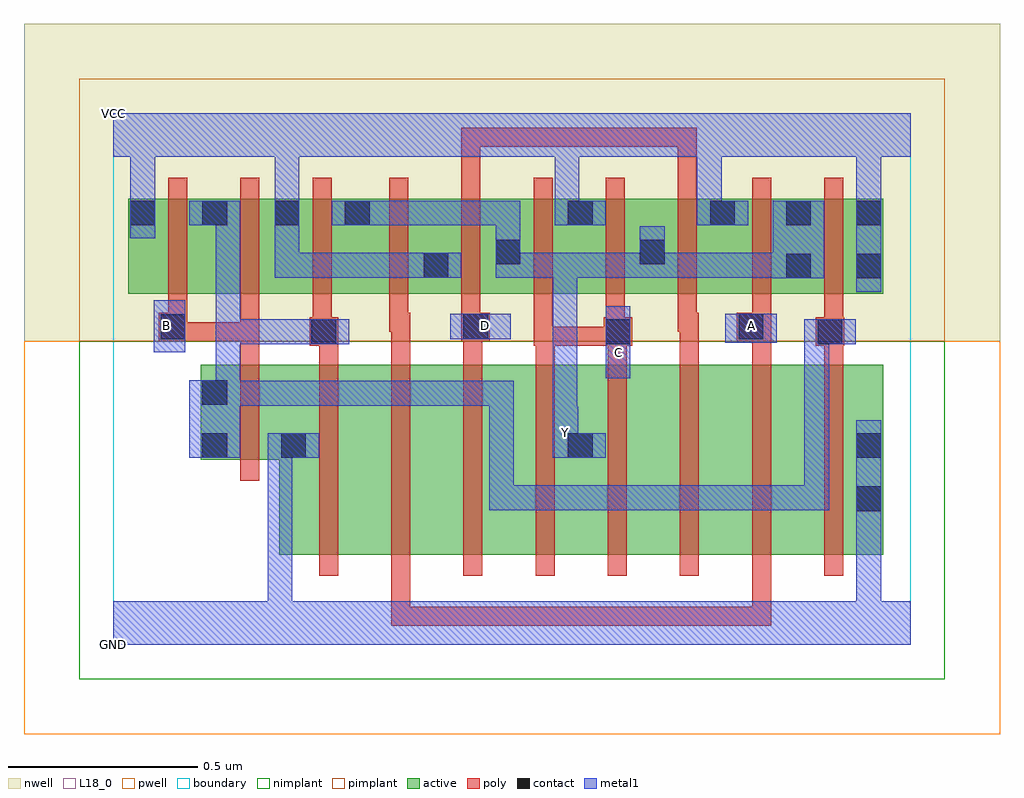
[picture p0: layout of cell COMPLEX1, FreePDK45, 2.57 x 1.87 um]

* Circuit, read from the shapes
.subckt COMPLEX1 A B C D GND VCC Y
M1 GND B n1 VSUBS nfet w=0.25u l=0.05u
M2 n2 n1 GND VSUBS nfet w=0.5u l=0.05u
M3 n3 A n2 VSUBS nfet w=0.5u l=0.05u
M4 n4 D n3 VSUBS nfet w=0.5u l=0.05u
M5 Y C n4 VSUBS nfet w=0.5u l=0.05u
M6 n5 C Y VSUBS nfet w=0.5u l=0.05u
M7 n6 D n5 VSUBS nfet w=0.5u l=0.05u
M8 n7 A n6 VSUBS nfet w=0.5u l=0.05u
M9 GND n1 n7 VSUBS nfet w=0.5u l=0.05u
M10 n1 B VCC n8 pfet w=0.25u l=0.05u m=2
M11 Y n1 VCC n8 pfet w=0.25u l=0.05u m=2
M12 VCC A Y n8 pfet w=0.25u l=0.05u m=2
M13 Y D VCC n8 pfet w=0.25u l=0.05u m=2
M14 VCC C Y n8 pfet w=0.25u l=0.05u m=2
.ends

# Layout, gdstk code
import gdstk
lib = gdstk.Library(unit=1e-6, precision=1e-09)
def R(c, l, rs):  # rectangles x0, y0, x1, y1
    for r in rs: c.add(gdstk.rectangle(r[:2], r[2:], *l))
def A(c, l, x, y, w, h, nx, ny, dx, dy):  # array of equal rectangles
    R(c, l, [(x+i*dx, y+j*dy, x+i*dx+w, y+j*dy+h) for i in range(nx) for j in range(ny)])
active = (1, 0)
pwell = (2, 0)
nwell = (3, 0)
nimplant = (4, 0)
pimplant = (5, 0)
poly = (9, 0)
contact = (10, 0)
metal1 = (11, 0)
L18_0 = (18, 0)
boundary = (235, 0)

complex1 = lib.new_cell('COMPLEX1')
A(complex1, active, 0.04, 0.925, 0.075, 0.25, 3, 1, 0.19, 0)
A(complex1, active, 0.812, 0.925, 0.265, 0.25, 3, 1, 0.19, 0)
R(complex1, active, [(0.437,0.237,0.662,0.737), (0.662,0.237,0.852,0.737), (0.852,0.237,1.042,0.737), (1.042,0.237,1.267,0.737), (1.192,0.237,1.422,0.737), (1.422,0.237,1.612,0.737), (1.612,0.237,1.802,0.737), (1.802,0.237,2.027,0.737), (1.192,0.245,1.267,0.717), (1.952,0.245,2.027,0.737), (0.23,0.487,0.512,0.737), (0.23,0.487,0.305,0.737), (0.437,0.487,0.512,0.562), (0.04,0.925,0.305,1.175), (0.23,0.925,0.495,1.175), (0.42,0.925,0.68,1.175), (0.605,0.925,0.887,1.175), (0.605,0.925,0.68,1.175), (1.002,0.925,1.077,1.162), (1.382,0.925,1.642,1.175), (1.382,0.925,1.457,1.162), (1.567,0.925,1.842,1.175), (1.767,0.925,2.027,1.175), (1.952,0.925,2.027,1.175), (1.192,0.932,1.267,1.175), (1.767,0.96,1.842,1.175), (0.812,0.962,0.887,1.07), (1.567,1.057,1.642,1.175)])
R(complex1, pwell, [(-0.235,-0.235,2.335,0.8)])
R(complex1, nwell, [(-0.235,0.8,2.335,1.635)])
R(complex1, nimplant, [(-0.09,-0.09,2.19,0.8)])
R(complex1, pimplant, [(-0.09,0.8,2.19,1.49)])
A(complex1, poly, 0.542, 0.182, 0.05, 0.61, 8, 1, 0.19, 0)
A(complex1, poly, 0.145, 0.87, 0.05, 0.36, 3, 1, 0.19, 0)
A(complex1, poly, 0.727, 0.87, 0.05, 0.36, 5, 1, 0.19, 0)
R(complex1, poly, [(0.732,0.05,0.782,0.232), (0.732,0.05,0.782,0.1), (0.732,0.05,0.782,0.1), (0.732,0.05,0.782,0.1), (0.732,0.05,1.025,0.1), (0.975,0.05,1.025,0.1), (0.975,0.05,1.025,0.1), (0.975,0.05,1.025,0.1), (0.975,0.05,1.21,0.1), (1.16,0.05,1.21,0.1), (1.16,0.05,1.21,0.1), (1.16,0.05,1.21,0.1), (1.16,0.05,1.342,0.1), (1.292,0.05,1.342,0.1), (1.292,0.05,1.342,0.1), (1.292,0.05,1.342,0.1), (1.292,0.05,1.475,0.1), (1.425,0.05,1.475,0.1), (1.425,0.05,1.732,0.1), (1.682,0.05,1.732,0.232), (1.682,0.05,1.732,0.1), (1.682,0.05,1.732,0.1), (1.682,0.05,1.732,0.1), (0.335,0.432,0.385,0.792), (0.335,0.742,0.385,0.85), (0.542,0.742,0.592,0.837), (0.732,0.742,0.782,0.875), (0.922,0.742,0.972,0.85), (1.112,0.742,1.162,0.837), (1.302,0.742,1.352,0.837), (1.492,0.742,1.542,0.875), (1.682,0.742,1.732,0.85), (1.872,0.742,1.922,0.837), (0.517,0.787,0.592,0.862), (1.107,0.787,1.157,0.92), (1.107,0.787,1.162,0.837), (1.112,0.787,1.162,0.837), (1.112,0.787,1.162,0.837), (1.112,0.787,1.342,0.837), (1.292,0.787,1.367,0.862), (1.85,0.787,1.925,0.862), (0.12,0.8,0.195,0.875), (0.145,0.8,0.385,0.85), (0.335,0.8,0.385,0.85), (0.335,0.8,0.385,0.85), (0.335,0.8,0.385,0.85), (0.335,0.8,0.385,0.92), (0.917,0.8,0.992,0.875), (1.642,0.8,1.732,0.875), (0.525,0.812,0.575,0.92), (1.297,0.812,1.347,0.92), (1.872,0.812,1.922,0.92), (0.145,0.825,0.195,0.92), (0.727,0.825,0.777,0.92), (0.727,0.825,0.782,0.875), (0.917,0.825,0.967,0.92), (1.487,0.825,1.537,0.92), (1.487,0.825,1.542,0.875), (1.682,0.825,1.732,0.92), (1.682,0.87,1.732,1.23), (1.872,0.87,1.922,1.23), (0.917,1.18,0.967,1.362), (1.487,1.18,1.537,1.362), (0.917,1.312,0.967,1.362), (0.917,1.312,0.967,1.362), (0.917,1.312,0.967,1.362), (0.917,1.312,1.157,1.362), (1.107,1.312,1.157,1.362), (1.107,1.312,1.157,1.362), (1.107,1.312,1.157,1.362), (1.107,1.312,1.342,1.362), (1.292,1.312,1.342,1.362), (1.292,1.312,1.342,1.362), (1.292,1.312,1.342,1.362), (1.292,1.312,1.537,1.362), (1.487,1.312,1.537,1.362)])
A(complex1, contact, 0.045, 1.105, 0.065, 0.065, 3, 1, 0.19, 0)
R(complex1, contact, [(1.957,0.352,2.022,0.417), (0.235,0.492,0.3,0.557), (0.442,0.492,0.507,0.557), (1.197,0.492,1.262,0.557), (1.957,0.492,2.022,0.557), (0.235,0.632,0.3,0.697), (0.522,0.792,0.587,0.857), (1.297,0.792,1.362,0.857), (1.855,0.792,1.92,0.857), (0.125,0.805,0.19,0.87), (0.922,0.805,0.987,0.87), (1.647,0.805,1.712,0.87), (1.772,0.965,1.837,1.03), (1.957,0.965,2.022,1.03), (0.817,0.967,0.882,1.032), (1.007,1.002,1.072,1.067), (1.387,1.002,1.452,1.067), (0.61,1.105,0.675,1.17), (1.197,1.105,1.262,1.17), (1.572,1.105,1.637,1.17), (1.772,1.105,1.837,1.17), (1.957,1.105,2.022,1.17)])
R(complex1, metal1, [(0,0,2.1,0.115), (0.407,0.05,0.472,0.115), (0.407,0.05,0.472,0.115), (0.407,0.05,0.472,0.115), (0.407,0.05,0.472,0.115), (0.407,0.05,0.472,0.557), (1.957,0.05,2.022,0.382), (1.957,0.317,2.022,0.382), (1.957,0.317,2.022,0.382), (1.957,0.317,2.022,0.382), (1.957,0.317,2.022,0.382), (1.957,0.317,2.022,0.592), (0.99,0.355,1.055,0.42), (0.99,0.355,1.055,0.42), (0.99,0.355,1.055,0.42), (0.99,0.355,1.315,0.42), (0.99,0.355,1.055,0.695), (1.25,0.355,1.315,0.42), (1.25,0.355,1.315,0.42), (1.25,0.355,1.315,0.42), (1.25,0.355,1.452,0.42), (1.387,0.355,1.452,0.42), (1.387,0.355,1.452,0.42), (1.387,0.355,1.452,0.42), (1.387,0.355,1.452,0.42), (1.387,0.355,1.452,0.42), (1.387,0.355,1.665,0.42), (1.6,0.355,1.665,0.42), (1.6,0.355,1.665,0.42), (1.6,0.355,1.665,0.42), (1.6,0.355,1.885,0.42), (1.82,0.355,1.885,0.42), (1.82,0.355,1.885,0.857), (0.2,0.492,0.335,0.697), (0.407,0.492,0.542,0.557), (1.157,0.492,1.225,0.627), (1.16,0.492,1.225,0.557), (1.16,0.492,1.297,0.557), (1.157,0.562,1.222,1.032), (0.27,0.63,0.335,0.695), (0.27,0.63,0.335,0.695), (0.27,0.63,0.502,0.695), (0.437,0.63,0.502,0.695), (0.437,0.63,0.502,0.695), (0.437,0.63,0.502,0.695), (0.437,0.63,0.697,0.695), (0.632,0.63,0.697,0.695), (0.632,0.63,0.697,0.695), (0.632,0.63,0.697,0.695), (0.632,0.63,0.917,0.695), (0.852,0.63,0.917,0.695), (0.852,0.63,0.917,0.695), (0.852,0.63,0.917,0.695), (0.852,0.63,1.055,0.695), (0.99,0.63,1.055,0.695), (0.27,0.632,0.335,0.857), (1.297,0.702,1.362,0.892), (0.107,0.77,0.19,0.907), (0.27,0.792,0.335,0.857), (0.27,0.792,0.335,0.857), (0.27,0.792,0.335,0.857), (0.27,0.792,0.502,0.857), (0.27,0.792,0.335,1.17), (0.437,0.792,0.502,0.857), (0.437,0.792,0.552,0.857), (0.487,0.792,0.622,0.857), (1.82,0.792,1.885,0.857), (1.82,0.792,1.885,0.857), (1.82,0.792,1.955,0.857), (1.612,0.795,1.747,0.872), (0.887,0.805,1.047,0.872), (1.957,0.93,2.022,1.205), (1.737,0.965,1.872,1.17), (0.425,0.967,0.49,1.032), (0.425,0.967,0.49,1.032), (0.425,0.967,0.49,1.032), (0.425,0.967,0.64,1.032), (0.425,0.967,0.49,1.135), (0.575,0.967,0.64,1.032), (0.575,0.967,0.64,1.032), (0.575,0.967,0.64,1.032), (0.575,0.967,0.847,1.032), (0.782,0.967,0.917,1.032), (1.007,0.967,1.072,1.032), (1.007,0.967,1.072,1.032), (1.007,0.967,1.072,1.102), (1.007,0.967,1.222,1.032), (1.157,0.967,1.222,1.032), (1.157,0.967,1.222,1.032), (1.157,0.967,1.222,1.032), (1.157,0.967,1.452,1.032), (1.387,0.967,1.452,1.032), (1.387,0.967,1.452,1.032), (1.387,0.967,1.665,1.032), (1.387,0.967,1.452,1.102), (1.6,0.967,1.665,1.032), (1.6,0.967,1.665,1.032), (1.6,0.967,1.665,1.032), (1.6,0.967,1.802,1.032), (1.007,1.037,1.072,1.17), (0.045,1.07,0.11,1.205), (0.425,1.07,0.49,1.205), (0.2,1.105,0.335,1.17), (0.575,1.105,0.71,1.17), (0.645,1.105,0.71,1.17), (0.645,1.105,0.71,1.17), (0.645,1.105,0.847,1.17), (0.782,1.105,0.847,1.17), (0.782,1.105,0.847,1.17), (0.782,1.105,0.847,1.17), (0.782,1.105,1.072,1.17), (1.007,1.105,1.072,1.17), (1.162,1.105,1.297,1.17), (1.162,1.105,1.227,1.35), (1.537,1.105,1.672,1.17), (1.537,1.105,1.602,1.35), (0.045,1.14,0.11,1.35), (0.425,1.14,0.49,1.35), (1.957,1.14,2.022,1.35), (0,1.285,2.1,1.4), (0.045,1.285,0.11,1.35), (0.045,1.285,0.11,1.35), (0.045,1.285,0.11,1.35), (0.045,1.285,0.11,1.35), (0.425,1.285,0.49,1.35), (0.425,1.285,0.49,1.35), (0.425,1.285,0.49,1.35), (0.425,1.285,0.49,1.35), (1.162,1.285,1.227,1.35), (1.162,1.285,1.227,1.35), (1.162,1.285,1.227,1.35), (1.162,1.285,1.227,1.35), (1.537,1.285,1.602,1.35), (1.537,1.285,1.602,1.35), (1.537,1.285,1.602,1.35), (1.537,1.285,1.602,1.35), (1.957,1.285,2.022,1.35), (1.957,1.285,2.022,1.35), (1.957,1.285,2.022,1.35), (1.957,1.285,2.022,1.35)])
R(complex1, L18_0, [(0,0,2.1,0.115), (0.407,0.05,0.472,0.115), (0.407,0.05,0.472,0.115), (0.407,0.05,0.472,0.115), (0.407,0.05,0.472,0.115), (0.407,0.05,0.472,0.557), (1.957,0.05,2.022,0.382), (1.957,0.317,2.022,0.382), (1.957,0.317,2.022,0.382), (1.957,0.317,2.022,0.382), (1.957,0.317,2.022,0.382), (1.957,0.317,2.022,0.592), (0.407,0.492,0.542,0.557), (1.157,0.492,1.225,0.627), (1.16,0.492,1.225,0.557), (1.16,0.492,1.297,0.557), (1.157,0.527,1.222,0.592), (1.157,0.562,1.222,1.032), (1.297,0.702,1.362,0.892), (1.297,0.737,1.362,0.802), (0.107,0.77,0.19,0.907), (1.612,0.795,1.747,0.872), (0.887,0.805,1.047,0.872), (0.107,0.807,0.172,0.872), (0.947,0.807,1.012,0.872), (1.647,0.807,1.712,0.872), (1.957,0.93,2.022,1.205), (1.737,0.965,1.872,1.17), (0.425,0.967,0.49,1.032), (0.425,0.967,0.49,1.032), (0.425,0.967,0.49,1.032), (0.425,0.967,0.49,1.135), (0.425,0.967,0.64,1.032), (0.575,0.967,0.64,1.032), (0.575,0.967,0.64,1.032), (0.575,0.967,0.64,1.032), (0.575,0.967,0.847,1.032), (0.782,0.967,0.917,1.032), (1.007,0.967,1.072,1.102), (1.007,0.967,1.072,1.032), (1.007,0.967,1.072,1.032), (1.007,0.967,1.222,1.032), (1.157,0.967,1.222,1.032), (1.157,0.967,1.222,1.032), (1.157,0.967,1.222,1.032), (1.157,0.967,1.452,1.032), (1.387,0.967,1.452,1.102), (1.387,0.967,1.452,1.032), (1.387,0.967,1.452,1.032), (1.387,0.967,1.665,1.032), (1.6,0.967,1.665,1.032), (1.6,0.967,1.665,1.032), (1.6,0.967,1.665,1.032), (1.6,0.967,1.802,1.032), (1.007,1.037,1.072,1.17), (0.045,1.07,0.11,1.205), (0.425,1.07,0.49,1.205), (0.575,1.105,0.71,1.17), (0.645,1.105,0.71,1.17), (0.645,1.105,0.71,1.17), (0.645,1.105,0.847,1.17), (0.782,1.105,0.847,1.17), (0.782,1.105,0.847,1.17), (0.782,1.105,0.847,1.17), (0.782,1.105,1.072,1.17), (1.007,1.105,1.072,1.17), (1.162,1.105,1.297,1.17), (1.162,1.105,1.227,1.35), (1.537,1.105,1.672,1.17), (1.537,1.105,1.602,1.35), (0.045,1.14,0.11,1.35), (0.425,1.14,0.49,1.35), (1.957,1.14,2.022,1.35), (0,1.285,2.1,1.4), (0.045,1.285,0.11,1.35), (0.045,1.285,0.11,1.35), (0.045,1.285,0.11,1.35), (0.045,1.285,0.11,1.35), (0.425,1.285,0.49,1.35), (0.425,1.285,0.49,1.35), (0.425,1.285,0.49,1.35), (0.425,1.285,0.49,1.35), (1.162,1.285,1.227,1.35), (1.162,1.285,1.227,1.35), (1.162,1.285,1.227,1.35), (1.162,1.285,1.227,1.35), (1.537,1.285,1.602,1.35), (1.537,1.285,1.602,1.35), (1.537,1.285,1.602,1.35), (1.537,1.285,1.602,1.35), (1.957,1.285,2.022,1.35), (1.957,1.285,2.022,1.35), (1.957,1.285,2.022,1.35), (1.957,1.285,2.022,1.35)])
R(complex1, boundary, [(0,0,2.1,1.4)])
complex1.add(gdstk.Label('A', (1.68,0.84), layer=11, texttype=0))
complex1.add(gdstk.Label('B', (0.14,0.84), layer=11, texttype=0))
complex1.add(gdstk.Label('C', (1.33,0.77), layer=11, texttype=0))
complex1.add(gdstk.Label('D', (0.98,0.84), layer=11, texttype=0))
complex1.add(gdstk.Label('Y', (1.19,0.56), layer=11, texttype=0))
complex1.add(gdstk.Label('VCC', (0,1.4), layer=11, texttype=0))
complex1.add(gdstk.Label('GND', (0,0), layer=11, texttype=0))

lib.write_gds('COMPLEX1.gds')
